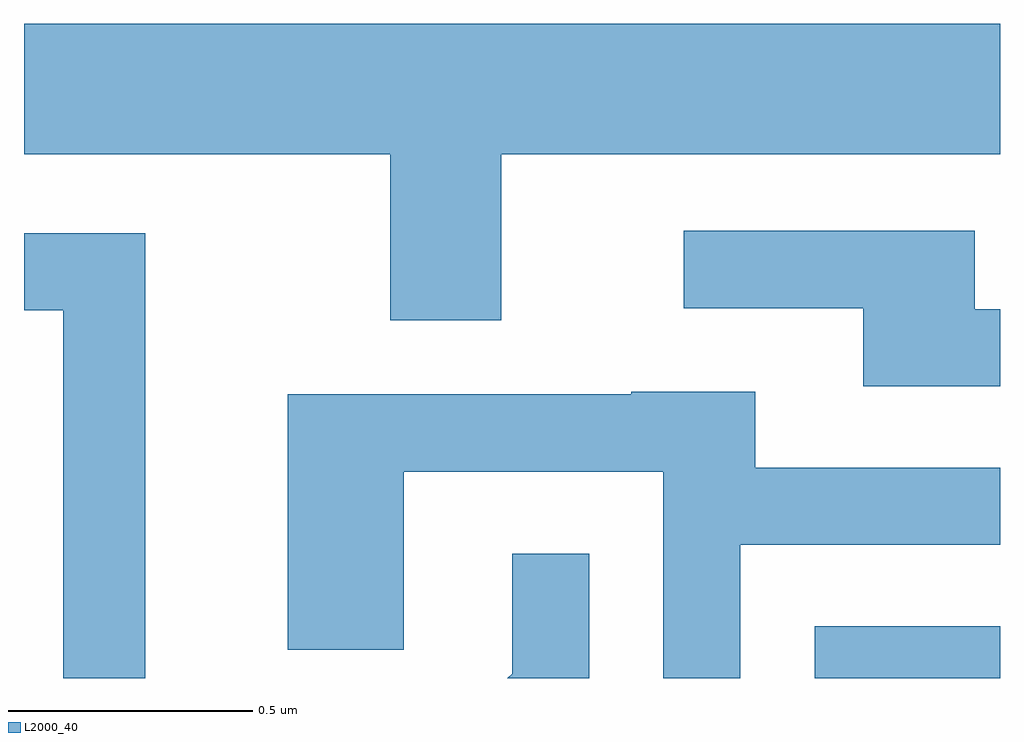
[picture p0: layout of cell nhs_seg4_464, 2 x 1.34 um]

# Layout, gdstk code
import gdstk
lib = gdstk.Library(unit=1e-6, precision=1e-09)
def R(c, l, rs):  # rectangles x0, y0, x1, y1
    for r in rs: c.add(gdstk.rectangle(r[:2], r[2:], *l))
def P(c, l, *ps):  # polygons
    for p in ps: c.add(gdstk.Polygon(p, *l))
L2000_40 = (2000, 40)

nhs_seg4_464 = lib.new_cell('nhs_seg4_464')
R(nhs_seg4_464, L2000_40, [(190.231,1306.982,190.611,1307.089)])
P(nhs_seg4_464, L2000_40, [(189.589,1308.056),(190.611,1308.056),(190.611,1308.324),(188.611,1308.324),(188.611,1308.056),(189.361,1308.056),(189.361,1307.716),(189.589,1307.716)],
  [(190.611,1307.739),(190.559,1307.739),(190.559,1307.899),(189.963,1307.899),(189.963,1307.741),(190.331,1307.741),(190.331,1307.581),(190.611,1307.581)],
  [(188.859,1307.894),(188.611,1307.894),(188.611,1307.736),(188.691,1307.736),(188.691,1306.982),(188.859,1306.982)],
  [(190.079,1307.256),(190.611,1307.256),(190.611,1307.414),(190.109,1307.414),(190.109,1307.569),(189.855,1307.569),(189.855,1307.564),(189.151,1307.564),(189.151,1307.041),(189.389,1307.041),(189.389,1307.406),(189.921,1307.406),(189.921,1306.982),(190.079,1306.982)],
  [(189.769,1307.238),(189.611,1307.238),(189.611,1306.992),(189.601,1306.982),(189.769,1306.982)])

lib.write_gds('nhs_seg4_464.gds')
